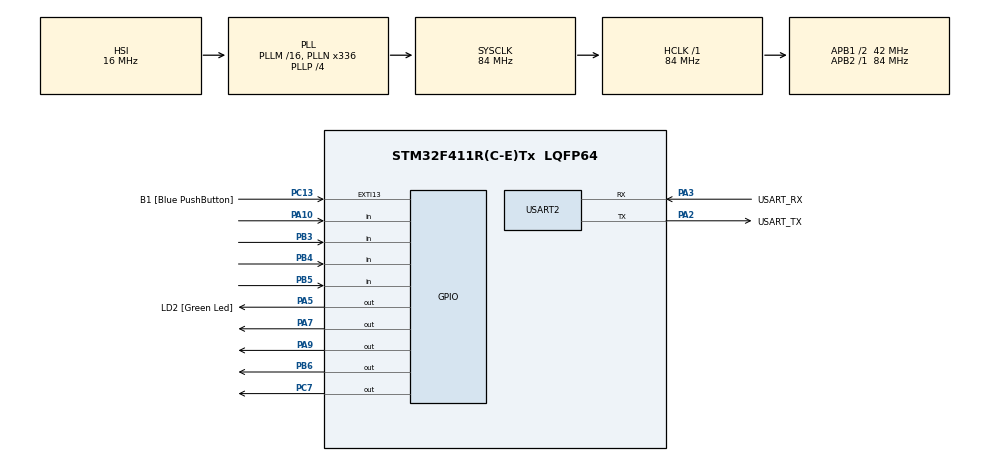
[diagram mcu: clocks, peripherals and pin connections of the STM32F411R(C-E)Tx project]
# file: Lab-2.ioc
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Mcu.Family=STM32F4
Mcu.Name=STM32F411R(C-E)Tx
Mcu.Package=LQFP64
NVIC.PriorityGroup=NVIC_PRIORITYGROUP_0
PA10.GPIO_PuPd=GPIO_PULLUP
PA10.Signal=GPIO_Input
PA13.GPIO_Label=TMS
PA13.Mode=Serial_Wire
PA13.Signal=SYS_JTMS-SWDIO
PA14.GPIO_Label=TCK
PA14.Mode=Serial_Wire
PA14.Signal=SYS_JTCK-SWCLK
PA2.GPIO_Label=USART_TX
PA2.Mode=Asynchronous
PA2.Signal=USART2_TX
PA3.GPIO_Label=USART_RX
PA3.Mode=Asynchronous
PA3.Signal=USART2_RX
PA5.GPIO_Label=LD2 [Green Led]
PA5.Signal=GPIO_Output
PA7.GPIO_ModeDefaultOutputPP=GPIO_MODE_OUTPUT_OD
PA7.PinState=GPIO_PIN_SET
PA7.Signal=GPIO_Output
PA9.GPIO_ModeDefaultOutputPP=GPIO_MODE_OUTPUT_OD
PA9.PinState=GPIO_PIN_SET
PA9.Signal=GPIO_Output
PB3.GPIO_PuPd=GPIO_PULLUP
PB3.Signal=GPIO_Input
PB4.GPIO_PuPd=GPIO_PULLUP
PB4.Signal=GPIO_Input
PB5.GPIO_PuPd=GPIO_PULLUP
PB5.Signal=GPIO_Input
PB6.GPIO_ModeDefaultOutputPP=GPIO_MODE_OUTPUT_OD
PB6.PinState=GPIO_PIN_SET
PB6.Signal=GPIO_Output
PC13-ANTI_TAMP.GPIO_Label=B1 [Blue PushButton]
PC13-ANTI_TAMP.GPIO_ModeDefaultEXTI=GPIO_MODE_IT_FALLING
PC13-ANTI_TAMP.Signal=GPXTI13
PC14-OSC32_IN.Mode=LSE-External-Oscillator
PC14-OSC32_IN.Signal=RCC_OSC32_IN
PC15-OSC32_OUT.Mode=LSE-External-Oscillator
PC15-OSC32_OUT.Signal=RCC_OSC32_OUT
PC7.GPIO_ModeDefaultOutputPP=GPIO_MODE_OUTPUT_OD
PC7.PinState=GPIO_PIN_SET
PC7.Signal=GPIO_Output
PH0\ -\ OSC_IN.Mode=HSE-External-Clock-Source
PH0\ -\ OSC_IN.Signal=RCC_OSC_IN
PH1\ -\ OSC_OUT.Mode=HSE-External-Clock-Source
PH1\ -\ OSC_OUT.Signal=RCC_OSC_OUT
ProjectManager.HeapSize=0x200
ProjectManager.StackSize=0x400
ProjectManager.TargetToolchain=STM32CubeIDE
RCC.48MHZClocksFreq_Value=84000000
RCC.AHBFreq_Value=84000000
RCC.APB1CLKDivider=RCC_HCLK_DIV2
RCC.APB1Freq_Value=42000000
RCC.APB1TimFreq_Value=84000000
RCC.APB2Freq_Value=84000000
RCC.APB2TimFreq_Value=84000000
RCC.CortexFreq_Value=84000000
RCC.FLatency-AdvancedSettings=FLASH_LATENCY_2
RCC.HCLKFreq_Value=84000000
RCC.HSE_VALUE=8000000
RCC.HSI_VALUE=16000000
RCC.PLLN=336
RCC.PLLP=RCC_PLLP_DIV4
RCC.SYSCLKFreq_VALUE=84000000
RCC.SYSCLKSource=RCC_SYSCLKSOURCE_PLLCLK
RCC.VCOOutputFreq_Value=336000000
USART2.VirtualMode=VM_ASYNC
board=NUCLEO-F411RE

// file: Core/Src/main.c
/* USER CODE BEGIN Header */
/**
  ******************************************************************************
  * @file           : main.c
  * @brief          : Main program body
  ******************************************************************************
  * @attention
  *
  * <h2><center>&copy; Copyright (c) 2021 STMicroelectronics.
  * All rights reserved.</center></h2>
  *
  * This software component is licensed by ST under BSD 3-Clause license,
  * the "License"; You may not use this file except in compliance with the
  * License. You may obtain a copy of the License at:
  *                        opensource.org/licenses/BSD-3-Clause
  *
  ******************************************************************************
  */
/* USER CODE END Header */
#include "main.h"

UART_HandleTypeDef huart2;

/* USER CODE BEGIN PV */

////////////////////////////////////////////////////////////////////////////////
uint16_t ButtonMatrixState = 0;
uint32_t ButtonMatrixTimeStamp = 0;
////////////////////////////////////////////////////////////////////////////////

/* USER CODE END PV */

void SystemClock_Config(void);
static void MX_GPIO_Init(void);
static void MX_USART2_UART_Init(void);
/* USER CODE BEGIN PFP */

void ButtonMatrixUpdate(); //Scan and Update data of Button Matrix

/* USER CODE END PFP */

int main(void)
{

  /* MCU Configuration--------------------------------------------------------*/

  /* Reset of all peripherals, Initializes the Flash interface and the Systick. */
  HAL_Init();

  /* Configure the system clock */
  SystemClock_Config();

  /* Initialize all configured peripherals */
  MX_GPIO_Init();
  MX_USART2_UART_Init();
  /* USER CODE BEGIN 2 */
  //--------------------------------------------------------------------------------
  uint64_t Id = 0;
  uint8_t  PasswordCorrect = 0;
  uint16_t ButtonStateArray[2];
  //--------------------------------------------------------------------------------
  /* USER CODE END 2 */

  /* Infinite loop */
  /* USER CODE BEGIN WHILE */

  //--------------------------------------------------------------------------------

  while (1)
  {
		  ButtonMatrixUpdate();
		  ButtonStateArray[0] = ButtonMatrixState;

		  if(ButtonStateArray[0] != 0 && ButtonStateArray[1] == 0) 	//If any Button is Pressed
		  {
			  uint32_t BlinkTimeStamp = HAL_GetTick();		//Blink 1 time when Pressed
			  while(HAL_GetTick() - BlinkTimeStamp < 400)
			  {
				  HAL_GPIO_WritePin(GPIOA, GPIO_PIN_5, GPIO_PIN_SET);  //Set ON RESET OFF
			  }

			  switch(ButtonMatrixState)
			  {
				  case(0b1):  		// #7
						Id = (Id * 10) + 7;
						break;
				  case(0b10):  		// #8
						Id = (Id * 10) + 8;
						break;
				  case(0b100):  	// #9
						Id = (Id * 10) + 9;
						break;
				  case(0b10000):  	// #4
						Id = (Id * 10) + 4;
						break;
				  case(0b100000):  	// #5
						Id = (Id * 10) + 5;
						break;
				  case(0b1000000):  // #6
						Id = (Id * 10) + 6;
						break;
				  case(0b100000000):  	// #1
						Id = (Id * 10) + 1;
						break;
				  case(0b1000000000):  	// #2
						Id = (Id * 10) + 2;
						break;
				  case(0b10000000000):  // #3
						Id = (Id * 10) + 3;
						break;
				  case(0b1000000000000):	// #0
						Id = (Id * 10);
						break;
				  case(0b1000):  			// CLEAR
						Id = 0;
						PasswordCorrect = 0;
						break;
				  case(0b10000000):   		// BackSpace
						Id = Id / 10;
						break;
				  case(0b1000000000000000): // OK
						if(Id == 62340500001)
						{
							PasswordCorrect = 1;
						}
						break;
				  default:
						break;
			  }
		  }
		  ButtonStateArray[1] = ButtonStateArray[0];

	  if(PasswordCorrect == 1)
	  {
		  HAL_GPIO_WritePin(GPIOA, GPIO_PIN_5, GPIO_PIN_SET);
	  }

	  else
	  {
		  HAL_GPIO_WritePin(GPIOA, GPIO_PIN_5, GPIO_PIN_RESET);
	  }

  //--------------------------------------------------------------------------------
    /* USER CODE END WHILE */

  }
}

void SystemClock_Config(void)
{
  RCC_OscInitTypeDef RCC_OscInitStruct = {0};
  RCC_ClkInitTypeDef RCC_ClkInitStruct = {0};

  /** Configure the main internal regulator output voltage
  */
  __HAL_RCC_PWR_CLK_ENABLE();
  __HAL_PWR_VOLTAGESCALING_CONFIG(PWR_REGULATOR_VOLTAGE_SCALE1);
  /** Initializes the RCC Oscillators according to the specified parameters
  * in the RCC_OscInitTypeDef structure.
  */
  RCC_OscInitStruct.OscillatorType = RCC_OSCILLATORTYPE_HSI;
  RCC_OscInitStruct.HSIState = RCC_HSI_ON;
  RCC_OscInitStruct.HSICalibrationValue = RCC_HSICALIBRATION_DEFAULT;
  RCC_OscInitStruct.PLL.PLLState = RCC_PLL_ON;
  RCC_OscInitStruct.PLL.PLLSource = RCC_PLLSOURCE_HSI;
  RCC_OscInitStruct.PLL.PLLM = 16;
  RCC_OscInitStruct.PLL.PLLN = 336;
  RCC_OscInitStruct.PLL.PLLP = RCC_PLLP_DIV4;
  RCC_OscInitStruct.PLL.PLLQ = 4;
  if (HAL_RCC_OscConfig(&RCC_OscInitStruct) != HAL_OK)
  {
    Error_Handler();
  }
  /** Initializes the CPU, AHB and APB buses clocks
  */
  RCC_ClkInitStruct.ClockType = RCC_CLOCKTYPE_HCLK|RCC_CLOCKTYPE_SYSCLK
                              |RCC_CLOCKTYPE_PCLK1|RCC_CLOCKTYPE_PCLK2;
  RCC_ClkInitStruct.SYSCLKSource = RCC_SYSCLKSOURCE_PLLCLK;
  RCC_ClkInitStruct.AHBCLKDivider = RCC_SYSCLK_DIV1;
  RCC_ClkInitStruct.APB1CLKDivider = RCC_HCLK_DIV2;
  RCC_ClkInitStruct.APB2CLKDivider = RCC_HCLK_DIV1;

  if (HAL_RCC_ClockConfig(&RCC_ClkInitStruct, FLASH_LATENCY_2) != HAL_OK)
  {
    Error_Handler();
  }
}

static void MX_USART2_UART_Init(void)
{

  huart2.Instance = USART2;
  huart2.Init.BaudRate = 115200;
  huart2.Init.WordLength = UART_WORDLENGTH_8B;
  huart2.Init.StopBits = UART_STOPBITS_1;
  huart2.Init.Parity = UART_PARITY_NONE;
  huart2.Init.Mode = UART_MODE_TX_RX;
  huart2.Init.HwFlowCtl = UART_HWCONTROL_NONE;
  huart2.Init.OverSampling = UART_OVERSAMPLING_16;
  if (HAL_UART_Init(&huart2) != HAL_OK)
  {
    Error_Handler();
  }

}

static void MX_GPIO_Init(void)
{
  GPIO_InitTypeDef GPIO_InitStruct = {0};

  /* GPIO Ports Clock Enable */
  __HAL_RCC_GPIOC_CLK_ENABLE();
  __HAL_RCC_GPIOH_CLK_ENABLE();
  __HAL_RCC_GPIOA_CLK_ENABLE();
  __HAL_RCC_GPIOB_CLK_ENABLE();

  /*Configure GPIO pin Output Level */
  HAL_GPIO_WritePin(LD2_GPIO_Port, LD2_Pin, GPIO_PIN_RESET);

  /*Configure GPIO pin Output Level */
  HAL_GPIO_WritePin(GPIOA, GPIO_PIN_7|GPIO_PIN_9, GPIO_PIN_SET);

  /*Configure GPIO pin Output Level */
  HAL_GPIO_WritePin(GPIOC, GPIO_PIN_7, GPIO_PIN_SET);

  /*Configure GPIO pin Output Level */
  HAL_GPIO_WritePin(GPIOB, GPIO_PIN_6, GPIO_PIN_SET);

  /*Configure GPIO pin : B1_Pin */
  GPIO_InitStruct.Pin = B1_Pin;
  GPIO_InitStruct.Mode = GPIO_MODE_IT_FALLING;
  GPIO_InitStruct.Pull = GPIO_NOPULL;
  HAL_GPIO_Init(B1_GPIO_Port, &GPIO_InitStruct);

  /*Configure GPIO pin : LD2_Pin */
  GPIO_InitStruct.Pin = LD2_Pin;
  GPIO_InitStruct.Mode = GPIO_MODE_OUTPUT_PP;
  GPIO_InitStruct.Pull = GPIO_NOPULL;
  GPIO_InitStruct.Speed = GPIO_SPEED_FREQ_LOW;
  HAL_GPIO_Init(LD2_GPIO_Port, &GPIO_InitStruct);

  /*Configure GPIO pins : PA7 PA9 */
  GPIO_InitStruct.Pin = GPIO_PIN_7|GPIO_PIN_9;
  GPIO_InitStruct.Mode = GPIO_MODE_OUTPUT_OD;
  GPIO_InitStruct.Pull = GPIO_NOPULL;
  GPIO_InitStruct.Speed = GPIO_SPEED_FREQ_LOW;
  HAL_GPIO_Init(GPIOA, &GPIO_InitStruct);

  /*Configure GPIO pin : PC7 */
  GPIO_InitStruct.Pin = GPIO_PIN_7;
  GPIO_InitStruct.Mode = GPIO_MODE_OUTPUT_OD;
  GPIO_InitStruct.Pull = GPIO_NOPULL;
  GPIO_InitStruct.Speed = GPIO_SPEED_FREQ_LOW;
  HAL_GPIO_Init(GPIOC, &GPIO_InitStruct);

  /*Configure GPIO pin : PA10 */
  GPIO_InitStruct.Pin = GPIO_PIN_10;
  GPIO_InitStruct.Mode = GPIO_MODE_INPUT;
  GPIO_InitStruct.Pull = GPIO_PULLUP;
  HAL_GPIO_Init(GPIOA, &GPIO_InitStruct);

  /*Configure GPIO pins : PB3 PB4 PB5 */
  GPIO_InitStruct.Pin = GPIO_PIN_3|GPIO_PIN_4|GPIO_PIN_5;
  GPIO_InitStruct.Mode = GPIO_MODE_INPUT;
  GPIO_InitStruct.Pull = GPIO_PULLUP;
  HAL_GPIO_Init(GPIOB, &GPIO_InitStruct);

  /*Configure GPIO pin : PB6 */
  GPIO_InitStruct.Pin = GPIO_PIN_6;
  GPIO_InitStruct.Mode = GPIO_MODE_OUTPUT_OD;
  GPIO_InitStruct.Pull = GPIO_NOPULL;
  GPIO_InitStruct.Speed = GPIO_SPEED_FREQ_LOW;
  HAL_GPIO_Init(GPIOB, &GPIO_InitStruct);

}

/* USER CODE BEGIN 4 */

////////////////////////////////////////////////////////////////////////////////

//Function Implementation
GPIO_TypeDef* ButtonMatrixPort[8] = {GPIOA,       GPIOB,      GPIOB,      GPIOB,             GPIOA,      GPIOC,      GPIOB,      GPIOA     };
uint16_t      ButtonMatrixPin [8] = {GPIO_PIN_10, GPIO_PIN_3, GPIO_PIN_5, GPIO_PIN_4,        GPIO_PIN_9, GPIO_PIN_7, GPIO_PIN_6, GPIO_PIN_7};
uint8_t       ButtonMatrixLine    = 0;

void ButtonMatrixUpdate()
{
	if(HAL_GetTick() - ButtonMatrixTimeStamp >= 100)
	{
		ButtonMatrixTimeStamp = HAL_GetTick();
		for(int i = 0; i < 4; i++)
		{
			GPIO_PinState PinState = HAL_GPIO_ReadPin(ButtonMatrixPort[i], ButtonMatrixPin[i]);
			if(PinState == GPIO_PIN_RESET) // Button is Pressed
			{
				ButtonMatrixState |= (uint16_t)1 << (i + ButtonMatrixLine * 4);

			}
			else
			{
				ButtonMatrixState &= ~((uint16_t)1 << (i + ButtonMatrixLine * 4));

			}
		}
		uint8_t NowOutputPin = ButtonMatrixLine + 4;
		HAL_GPIO_WritePin(ButtonMatrixPort[NowOutputPin], ButtonMatrixPin[NowOutputPin], GPIO_PIN_SET);
		ButtonMatrixLine = (ButtonMatrixLine + 1) % 4;

		uint8_t NextOutputPin = ButtonMatrixLine + 4;
		HAL_GPIO_WritePin(ButtonMatrixPort[NextOutputPin], ButtonMatrixPin[NextOutputPin], GPIO_PIN_RESET);
	}
}

////////////////////////////////////////////////////////////////////////////////

/* USER CODE END 4 */

void Error_Handler(void)
{
  __disable_irq();
  while (1)
  {
  }
}

/************************ (C) COPYRIGHT STMicroelectronics *****END OF FILE****/
